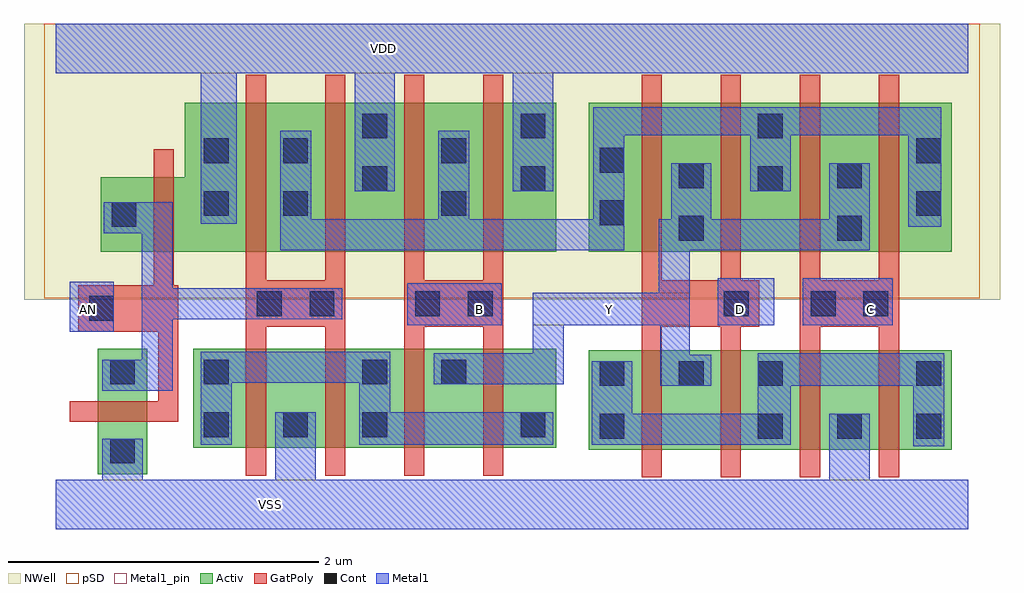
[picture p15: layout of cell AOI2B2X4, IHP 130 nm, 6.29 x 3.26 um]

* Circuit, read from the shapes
.subckt AOI2B2X4 AN B C D VDD VSS Y
XM1 n1 AN VSS VSUBS sg13_lv_nmos w=0.32u l=0.13u
XM2 VSS n1 n2 VSUBS sg13_lv_nmos w=0.64u l=0.13u m=2
XM3 Y B n2 VSUBS sg13_lv_nmos w=0.64u l=0.13u m=2
XM4 Y D n3 VSUBS sg13_lv_nmos w=0.64u l=0.13u m=2
XM5 VSS C n3 VSUBS sg13_lv_nmos w=0.64u l=0.13u m=2
XM6 VDD AN n1 n4 sg13_lv_pmos w=0.48u l=0.13u
XM7 n5 n1 VDD n4 sg13_lv_pmos w=0.96u l=0.13u m=2
XM8 n5 B VDD n4 sg13_lv_pmos w=0.96u l=0.13u m=2
XM9 Y D n5 n4 sg13_lv_pmos w=0.96u l=0.13u m=2
XM10 Y C n5 n4 sg13_lv_pmos w=0.96u l=0.13u m=2
.ends

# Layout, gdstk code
import gdstk
lib = gdstk.Library(unit=1e-6, precision=1e-09)
def R(c, l, rs):  # rectangles x0, y0, x1, y1
    for r in rs: c.add(gdstk.rectangle(r[:2], r[2:], *l))
def A(c, l, x, y, w, h, nx, ny, dx, dy):  # array of equal rectangles
    R(c, l, [(x+i*dx, y+j*dy, x+i*dx+w, y+j*dy+h) for i in range(nx) for j in range(ny)])
def P(c, l, *ps):  # polygons
    for p in ps: c.add(gdstk.Polygon(p, *l))
Activ = (1, 0)
GatPoly = (5, 0)
Cont = (6, 0)
Metal1 = (8, 0)
Metal1_pin = (8, 2)
pSD = (14, 0)
NWell = (31, 0)

aoi2b2x4 = lib.new_cell('AOI2B2X4')
R(aoi2b2x4, Activ, [(0.27,0.195,0.59,1.005), (3.435,0.355,5.775,0.995), (0.885,0.365,3.225,1.005), (3.435,1.63,5.775,2.59)])
P(aoi2b2x4, Activ, [(0.29,1.63),(0.29,2.11),(0.83,2.11),(0.83,2.59),(3.225,2.59),(3.225,1.63)])
P(aoi2b2x4, GatPoly, [(3.775,0.175),(3.775,2.77),(3.905,2.77),(3.905,1.445),(4.285,1.445),(4.285,2.77),(4.415,2.77),(4.415,1.445),(4.535,1.445),(4.535,1.145),(4.415,1.145),(4.415,0.175),(4.285,0.175),(4.285,1.145),(3.905,1.145),(3.905,0.175)],
  [(4.795,0.175),(4.795,2.77),(4.925,2.77),(4.925,1.445),(5.305,1.445),(5.305,2.77),(5.435,2.77),(5.435,0.175),(5.305,0.175),(5.305,1.145),(4.925,1.145),(4.925,0.175)],
  [(0.09,0.535),(0.09,0.665),(0.66,0.665),(0.66,1.115),(0.145,1.115),(0.145,1.415),(0.63,1.415),(0.63,2.29),(0.76,2.29),(0.76,1.415),(0.79,1.415),(0.79,0.535)],
  [(1.225,0.185),(1.225,2.77),(1.355,2.77),(1.355,1.445),(1.735,1.445),(1.735,2.77),(1.865,2.77),(1.865,0.185),(1.735,0.185),(1.735,1.145),(1.355,1.145),(1.355,0.185)],
  [(2.245,0.185),(2.245,2.77),(2.375,2.77),(2.375,1.445),(2.755,1.445),(2.755,2.77),(2.885,2.77),(2.885,0.185),(2.755,0.185),(2.755,1.145),(2.375,1.145),(2.375,0.185)])
A(aoi2b2x4, Cont, 4.525, 0.425, 0.16, 0.16, 3, 1, 0.51, 0)
A(aoi2b2x4, Cont, 0.955, 0.435, 0.16, 0.16, 3, 1, 0.51, 0)
A(aoi2b2x4, Cont, 3.505, 0.765, 0.16, 0.16, 3, 1, 0.51, 0)
R(aoi2b2x4, Cont, [(0.35,0.265,0.51,0.425), (3.505,0.425,3.665,0.585), (2.995,0.435,3.155,0.595), (5.545,0.765,5.705,0.925), (0.35,0.775,0.51,0.935), (0.955,0.775,1.115,0.935), (1.975,0.775,2.135,0.935), (2.485,0.775,2.645,0.935), (0.215,1.185,0.375,1.345), (1.295,1.215,1.455,1.375), (1.635,1.215,1.795,1.375), (2.315,1.215,2.475,1.375), (2.655,1.215,2.815,1.375), (4.305,1.215,4.465,1.375), (4.865,1.215,5.025,1.375), (5.205,1.215,5.365,1.375), (4.015,1.7,4.175,1.86), (5.035,1.7,5.195,1.86), (0.36,1.79,0.52,1.95), (3.505,1.8,3.665,1.96), (0.955,1.86,1.115,2.02), (1.465,1.86,1.625,2.02), (2.485,1.86,2.645,2.02), (5.545,1.86,5.705,2.02), (1.975,2.02,2.135,2.18), (2.995,2.02,3.155,2.18), (4.525,2.02,4.685,2.18), (4.015,2.04,4.175,2.2), (5.035,2.04,5.195,2.2), (3.505,2.14,3.665,2.3), (0.955,2.2,1.115,2.36), (1.465,2.2,1.625,2.36), (2.485,2.2,2.645,2.36), (5.545,2.2,5.705,2.36), (1.975,2.36,2.135,2.52), (2.995,2.36,3.155,2.52), (4.525,2.36,4.685,2.52)])
R(aoi2b2x4, Metal1, [(0.09,1.115,0.375,1.435), (2.265,1.155,2.875,1.425), (4.265,1.155,4.63,1.46), (4.815,1.155,5.395,1.46)])
P(aoi2b2x4, Metal1, [(0.935,1.81),(0.935,2.78),(0,2.78),(0,3.1),(5.88,3.1),(5.88,2.78),(3.205,2.78),(3.205,2.02),(2.945,2.02),(2.945,2.78),(2.185,2.78),(2.185,2.02),(1.925,2.02),(1.925,2.78),(1.165,2.78),(1.165,1.81)],
  [(0,-0.16),(0,0.16),(0.3,0.16),(0.3,0.425),(0.56,0.425),(0.56,0.16),(1.415,0.16),(1.415,0.595),(1.675,0.595),(1.675,0.16),(4.985,0.16),(4.985,0.585),(5.245,0.585),(5.245,0.16),(5.88,0.16),(5.88,-0.16)],
  [(5.525,0.375),(5.525,0.765),(4.735,0.765),(4.735,0.385),(3.455,0.385),(3.455,0.925),(3.715,0.925),(3.715,0.585),(4.525,0.585),(4.525,0.975),(5.725,0.975),(5.725,0.375)],
  [(1.445,1.64),(1.445,2.41),(1.645,2.41),(1.645,1.84),(2.465,1.84),(2.465,2.41),(2.665,2.41),(2.665,1.84),(3.465,1.84),(3.465,2.56),(5.705,2.56),(5.705,1.79),(5.495,1.79),(5.495,2.38),(4.735,2.38),(4.735,2.02),(4.475,2.02),(4.475,2.38),(3.665,2.38),(3.665,1.64)],
  [(3.895,0.765),(3.895,1.155),(3.275,1.155),(3.275,0.775),(2.435,0.775),(2.435,0.975),(3.075,0.975),(3.075,1.365),(3.885,1.365),(3.885,1.84),(3.965,1.84),(3.965,2.2),(4.225,2.2),(4.225,1.84),(4.985,1.84),(4.985,2.2),(5.245,2.2),(5.245,1.64),(4.085,1.64),(4.085,0.965),(4.225,0.965),(4.225,0.765)],
  [(0.935,0.385),(0.935,0.985),(2.155,0.985),(2.155,0.595),(3.205,0.595),(3.205,0.385),(1.955,0.385),(1.955,0.785),(1.135,0.785),(1.135,0.385)],
  [(0.3,0.735),(0.3,0.935),(0.555,0.935),(0.555,1.75),(0.31,1.75),(0.31,1.95),(0.755,1.95),(0.755,1.395),(1.845,1.395),(1.845,1.195),(0.755,1.195),(0.755,0.735)])
R(aoi2b2x4, Metal1_pin, [(0,-0.16,5.88,0.16), (0.09,1.115,0.375,1.435), (2.265,1.155,2.875,1.425), (3.075,1.155,4.085,1.365), (4.265,1.155,4.63,1.46), (4.815,1.155,5.395,1.46), (0,2.78,5.88,3.1)])
R(aoi2b2x4, pSD, [(-0.075,1.33,5.955,3.1)])
R(aoi2b2x4, NWell, [(-0.205,1.32,6.085,3.1)])
aoi2b2x4.add(gdstk.Label('VSS', (1.385,0), layer=8, texttype=25))
aoi2b2x4.add(gdstk.Label('VDD', (2.11,2.94), layer=8, texttype=25))
aoi2b2x4.add(gdstk.Label('B', (2.73,1.26), layer=8, texttype=25))
aoi2b2x4.add(gdstk.Label('Y', (3.57,1.26), layer=8, texttype=25))
aoi2b2x4.add(gdstk.Label('C', (5.25,1.26), layer=8, texttype=25))
aoi2b2x4.add(gdstk.Label('D', (4.41,1.26), layer=8, texttype=25))
aoi2b2x4.add(gdstk.Label('AN', (0.21,1.26), layer=8, texttype=25))

lib.write_gds('AOI2B2X4.gds')
